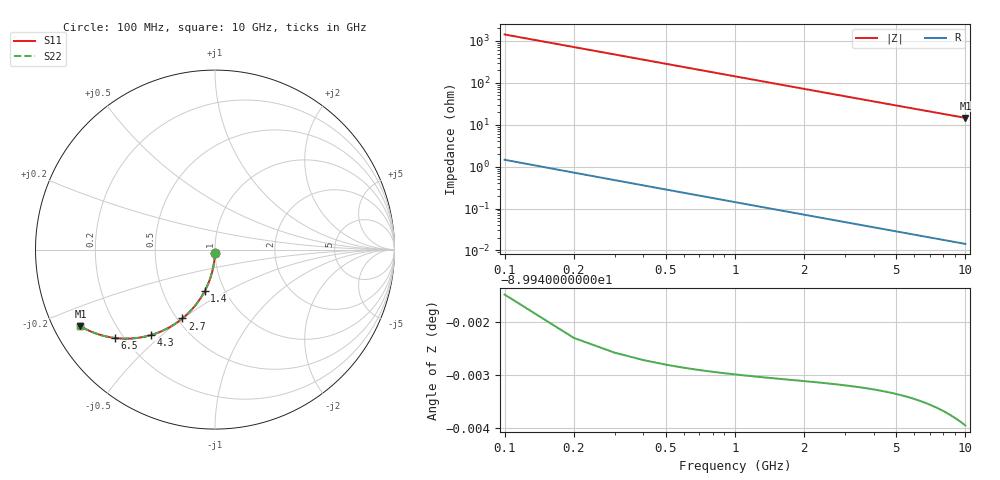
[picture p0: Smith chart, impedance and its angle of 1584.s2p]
# Hz S RI R 50.00
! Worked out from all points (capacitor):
!   100 points, 100 MHz to 10 GHz, reference 50 ohm
!   read as one part in shunt: C = 1.12 pF near 100 MHz
!   lowest |Z| = 14.6 ohm at 10 GHz (marker M1)
!   S11 on the Smith chart (normalised r, x): 100 MHz: 1.00, -0.03; 1.4 GHz: 0.81, -0.39; 2.7 GHz: 0.53, -0.50; 4.3 GHz: 0.31, -0.46; 6.5 GHz: 0.17, -0.37; 10 GHz: 0.08, -0.26
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1e8  -0.000316 -0.0175  0.9997 -0.0176  0.9997 -0.0176  -0.000316 -0.0175
2e8  -0.00125 -0.0349  0.9987 -0.0351  0.9987 -0.0351  -0.00125 -0.0349
3e8  -0.0028 -0.0523  0.9972 -0.0526  0.9972 -0.0526  -0.0028 -0.0523
4e8  -0.00495 -0.0695  0.995 -0.07  0.995 -0.07  -0.00495 -0.0695
5e8  -0.0077 -0.0867  0.9923 -0.0872  0.9923 -0.0872  -0.0077 -0.0867
6e8  -0.011 -0.1036  0.989 -0.1043  0.989 -0.1043  -0.011 -0.1036
7e8  -0.0149 -0.1204  0.9851 -0.1212  0.9851 -0.1212  -0.0149 -0.1204
9e8  -0.0244 -0.1533  0.9756 -0.1543  0.9756 -0.1543  -0.0244 -0.1533
1.1e9  -0.0359 -0.185  0.964 -0.1863  0.964 -0.1863  -0.0359 -0.185
1.4e9  -0.0568 -0.2302  0.9432 -0.2318  0.9432 -0.2318  -0.0568 -0.2302
1.8e9  -0.0904 -0.2852  0.9096 -0.2872  0.9096 -0.2872  -0.0904 -0.2852
2.2e9  -0.129 -0.3335  0.871 -0.3359  0.871 -0.3359  -0.129 -0.3335
2.7e9  -0.182 -0.3838  0.818 -0.3869  0.818 -0.3869  -0.182 -0.3838
3.4e9  -0.2602 -0.4363  0.7398 -0.4402  0.7398 -0.4402  -0.2602 -0.4363
4.3e9  -0.3592 -0.4768  0.6408 -0.4817  0.6408 -0.4817  -0.3592 -0.4768
5.1e9  -0.4402 -0.493  0.5598 -0.4988  0.5598 -0.4988  -0.4402 -0.493
5.8e9  -0.5036 -0.4961  0.4963 -0.5028  0.4963 -0.5028  -0.5036 -0.4961
6.5e9  -0.5599 -0.4921  0.4401 -0.4997  0.4401 -0.4997  -0.5599 -0.4921
6.7e9  -0.5746 -0.49  0.4253 -0.4978  0.4253 -0.4978  -0.5746 -0.49
7.5e9  -0.6282 -0.4784  0.3717 -0.4872  0.3717 -0.4872  -0.6282 -0.4784
8.4e9  -0.6791 -0.4614  0.3208 -0.4712  0.3208 -0.4712  -0.6791 -0.4614
1e10  -0.7496 -0.4268  0.2504 -0.4386  0.2504 -0.4386  -0.7496 -0.4268
